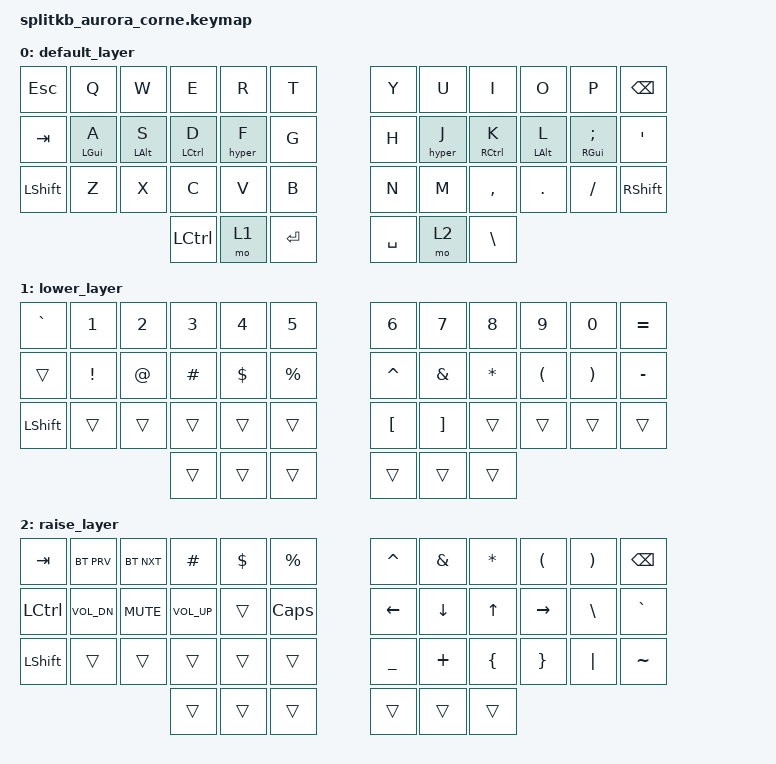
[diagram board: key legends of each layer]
/*
 * Copyright (c) 2020 The ZMK Contributors
 *
 * SPDX-License-Identifier: MIT
 */

#include <behaviors.dtsi>
#include <dt-bindings/zmk/keys.h>
#include <dt-bindings/zmk/bt.h>

/ {
    macros {
        hyper: hyper {
            compatible = "zmk,behavior-macro";
            #binding-cells = <0>;
            bindings
                = <&macro_press &kp LCTRL &kp LSHIFT &kp LALT &kp LGUI>
                , <&macro_pause_for_release>
                , <&macro_release &kp LCTRL &kp LSHIFT &kp LALT &kp LGUI>
                ;
        };
    };

    behaviors {
        hm: homerow_mods {
            compatible = "zmk,behavior-hold-tap";
            #binding-cells = <2>;
            tapping-term-ms = <300>;
            quick-tap-ms = <0>;
            flavor = "tap-preferred";
            bindings = <&kp>, <&kp>;
        };
        
        hm_hyper: homerow_mods_hyper {
            compatible = "zmk,behavior-hold-tap";
            #binding-cells = <2>;
            tapping-term-ms = <300>;
            quick-tap-ms = <0>;
            flavor = "tap-preferred";
            bindings = <&hyper>, <&kp>;
        };
    };
        keymap {
                compatible = "zmk,keymap";

                default_layer {
// -----------------------------------------------------------------------------------------
// | ESC  |  Q       |  W       |  E        |  R        |  T  |   |  Y  |  U         |  I       |  O       |  P       | BSPC   |
// | TAB  |  A(CMD)  |  S(ALT)  |  D(CTRL)  |  F(SHFT)  |  G  |   |  H  |  J(SHFT)   |  K(CTRL) |  L(ALT)  |  ;(CMD)  |  '     |
// | SHFT |  Z       |  X       |  C        |  V        |  B  |   |  N  |  M         |  ,       |  .       |  /       | RSHFT  |
//                    | LCTRL | LWR | RET |   | SPACE | RSE  | BSLH |
                        bindings = <
   &kp ESC   &kp Q      &kp W      &kp E       &kp R       &kp T   &kp Y &kp U         &kp I           &kp O        &kp P         &kp BSPC
   &kp TAB   &hm LGUI A &hm LALT S &hm LCTRL D &hm_hyper 0 F &kp G   &kp H &hm_hyper 0 J   &hm RCTRL K     &hm LALT L   &hm RGUI SEMI &kp SQT
   &kp LSHFT &kp Z      &kp X      &kp C       &kp V       &kp B   &kp N &kp M         &kp COMMA       &kp DOT      &kp FSLH      &kp RSHFT
                  &kp LCTRL &mo 1 &kp RET     &kp SPACE &mo 2 &kp BSLH
                        >;
                };
                lower_layer {
// -----------------------------------------------------------------------------------------
// |  `   |  1  |  2  |  3  |  4  |  5  |   |  6  |  7  |  8  |  9  |  0  |   =  |
// | TRANS| !   | @   | #   | $   | %   |   | ^   | &   |  *  | (   |  )  |   -  |
// | SHFT |     |     |     |     |     |   |     |     |     |     |     |      |
//                    | TRANS |     | TRANS |   | TRANS |     | TRANS |
                        bindings = <
   &kp GRAVE    &kp N1       &kp N2       &kp N3       &kp N4       &kp N5         &kp N6      &kp N7     &kp N8    &kp N9    &kp N0   &kp EQUAL
   &trans       &kp EXCL     &kp AT       &kp HASH     &kp DLLR     &kp PRCNT      &kp CARET   &kp AMPS   &kp ASTRK &kp LPAR  &kp RPAR &kp MINUS
   &kp LSHFT    &trans       &trans       &trans       &trans       &trans         &kp LBKT    &kp RBKT   &trans    &trans    &trans   &trans
                                    &trans     &trans       &trans      &trans  &trans   &trans
                        >;
                };

                raise_layer {
// -----------------------------------------------------------------------------------------
// |  TAB |  BT_PREV  |  BT_NEXT  |  #  |  $  |  %  |   |  ^     |  &     |  *   |  (      |  )  | BSPC |
// | CTRL |     |     |     |     |     |   |  LEFT  |  DOWN  |  UP  |  RIGHT  |  \  |  `   |
// | SHFT |     |     |     |     |     |   |  _     |  +     |  {   |  }      | "|" |  ~   |
//                    | TRANS |     | TRANS |   | TRANS    |        | TRANS  |
                        bindings = <
   &kp TAB    &bt BT_PRV     &bt BT_NXT   &kp HASH       &kp DLLR &kp PRCNT     &kp CARET &kp AMPS  &kp ASTRK &kp LPAR  &kp RPAR &kp BSPC
   &kp LCTRL  &kp C_VOL_DN   &kp C_MUTE   &kp C_VOL_UP   &trans   &kp CAPS      &kp LEFT  &kp DOWN  &kp UP    &kp RIGHT &kp BSLH &kp GRAVE
   &kp LSHFT  &trans         &trans       &trans         &trans   &trans        &kp UNDER &kp PLUS  &kp LBRC  &kp RBRC  &kp PIPE &kp TILDE
                              &trans   &trans   &trans      &trans   &trans    &trans
                        >;
                };
        };
};
